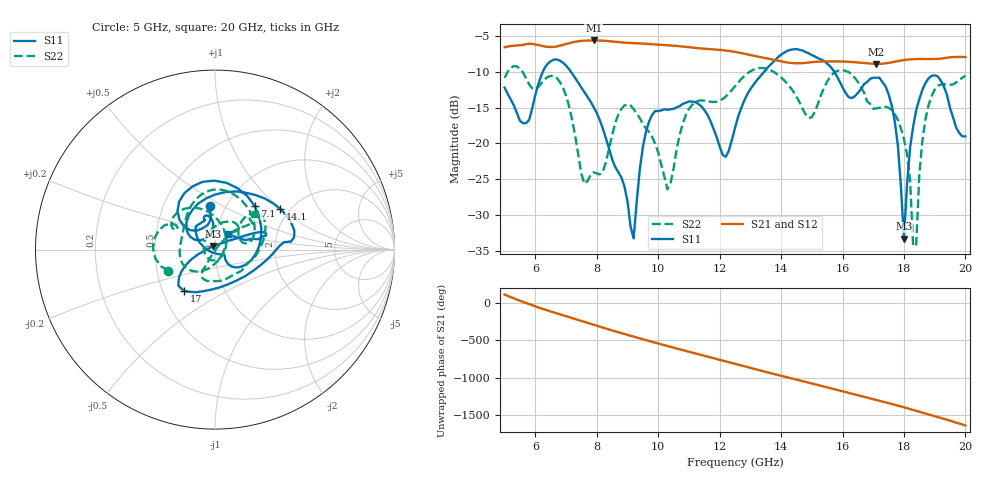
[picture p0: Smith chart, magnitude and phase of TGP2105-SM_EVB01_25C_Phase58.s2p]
! Date: Wednesday, June 05, 2013  1:52 PM
! Filename: C:\Data\Mike_Arnold\TGP2105-SM\Over_Temp\TGP2105-SM_EVB01_25C_Phase58.s2p
! Comments:
!^VDC(V):5.000
!^VDC(mA):0.070
!%Freq(GHz),S11(dB),S11(ang),S21(dB),S21(ang),S12(dB),S12(ang),S22(dB),S22(ang)
# GHz  S  DB  R  50
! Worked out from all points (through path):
!   151 points, 5 GHz to 20 GHz, reference 50 ohm
!   highest |S21| = -5.66 dB at 7.9 GHz (marker M1); lowest = -8.9 dB at 17.1 GHz (marker M2)
!   lowest |S11| = -33.3 dB at 18 GHz (marker M3), VSWR 1.04, Z = 49.1 + j1.95 ohm
!   |S11| at or under -10 dB: start of sweep to 6.249 GHz; 7.155 GHz to 13.46 GHz (6.3 GHz wide, 61.1 % of centre); 15.73 GHz to end of sweep
!   |S22| runs from -34.3 to -9.2 dB; largest |S21 - S12| = 0.0021
!   S11 on the Smith chart (normalised r, x): 5 GHz: 0.84, +0.44; 7.1 GHz: 1.34, +0.73; 14.1 GHz: 1.79, +0.99; 17 GHz: 0.64, -0.32; 20 GHz: 1.13, +0.20
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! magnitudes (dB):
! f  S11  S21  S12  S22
! 5 GHz  -12.2  -6.6  -6.6  -10.9
! 5.7 GHz  -17.2  -6.2  -6.2  -11.0
! 7.1 GHz  -9.7  -6.0  -6.1  -14.8
! 7.5 GHz  -12.2  -5.7  -5.7  -24.3
! 7.9 GHz  -15.0  -5.7  -5.7  -24.0
! 9.2 GHz  -33.2  -6.0  -6.1  -15.2
! 9.5 GHz  -20.5  -6.1  -6.1  -17.3
! 10 GHz  -15.5  -6.2  -6.3  -21.3
! 10.3 GHz  -15.3  -6.3  -6.4  -26.4
! 11 GHz  -14.2  -6.6  -6.6  -15.2
! 12.5 GHz  -17.9  -7.3  -7.3  -12.0
! 14.1 GHz  -7.4  -8.7  -8.7  -11.2
! 15 GHz  -7.7  -8.7  -8.7  -16.4
! 15.9 GHz  -11.3  -8.6  -8.6  -9.8
! 17 GHz  -10.9  -8.9  -8.9  -15.2
! 17.1 GHz  -10.8  -8.9  -9.0  -15.1
! 17.5 GHz  -13.2  -8.8  -8.8  -15.0
! 17.8 GHz  -20.2  -8.5  -8.6  -16.7
! 18 GHz  -33.3  -8.4  -8.4  -19.4
! 18.4 GHz  -15.3  -8.2  -8.3  -34.1
! 18.7 GHz  -11.6  -8.2  -8.3  -16.6
! 20 GHz  -19.0  -8.0  -8.0  -10.6
